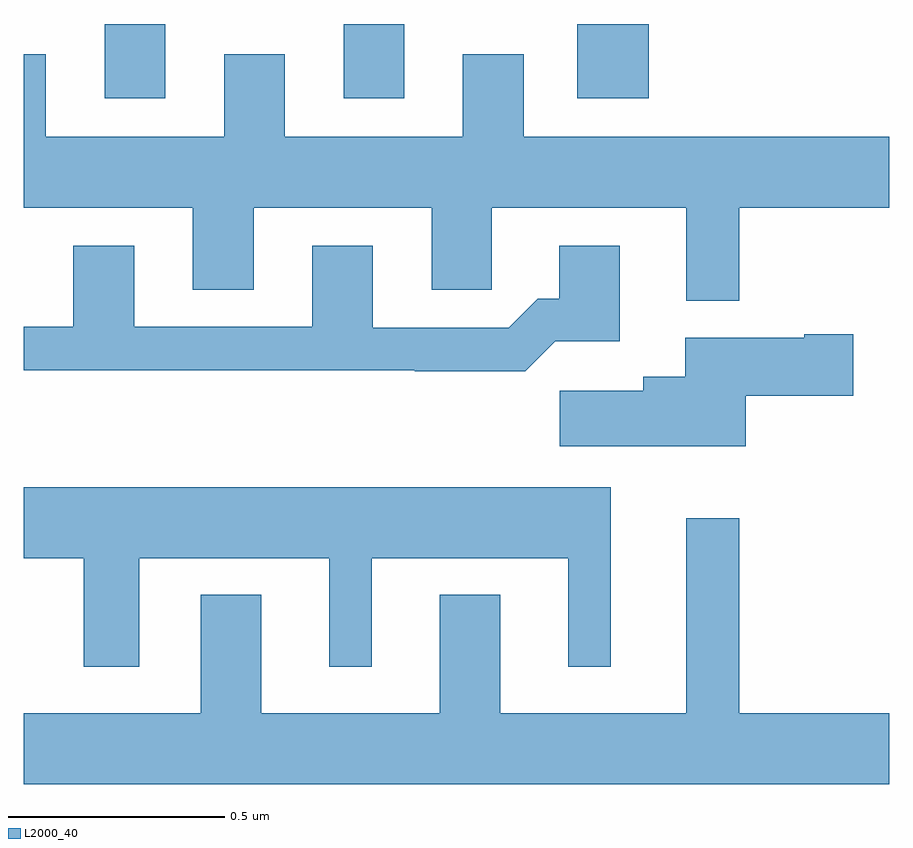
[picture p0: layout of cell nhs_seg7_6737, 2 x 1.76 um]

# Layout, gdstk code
import gdstk
lib = gdstk.Library(unit=1e-6, precision=1e-09)
def R(c, l, rs):  # rectangles x0, y0, x1, y1
    for r in rs: c.add(gdstk.rectangle(r[:2], r[2:], *l))
def P(c, l, *ps):  # polygons
    for p in ps: c.add(gdstk.Polygon(p, *l))
L2000_40 = (2000, 40)

nhs_seg7_6737 = lib.new_cell('nhs_seg7_6737')
R(nhs_seg7_6737, L2000_40, [(202.187,1040.829,202.327,1041), (202.739,1040.829,202.879,1041), (203.279,1040.829,203.444,1041)])
P(nhs_seg7_6737, L2000_40, [(203.653,1040.576),(204,1040.576),(204,1040.74),(203.155,1040.74),(203.155,1040.93),(203.015,1040.93),(203.015,1040.74),(202.603,1040.74),(202.603,1040.93),(202.463,1040.93),(202.463,1040.74),(202.051,1040.74),(202.051,1040.93),(202,1040.93),(202,1040.576),(202.391,1040.576),(202.391,1040.386),(202.531,1040.386),(202.531,1040.576),(202.943,1040.576),(202.943,1040.386),(203.082,1040.386),(203.082,1040.576),(203.531,1040.576),(203.531,1040.36),(203.653,1040.36)],
  [(203.228,1040.267),(203.377,1040.267),(203.377,1040.488),(203.237,1040.488),(203.237,1040.365),(203.188,1040.365),(203.121,1040.298),(202.807,1040.298),(202.807,1040.488),(202.667,1040.488),(202.667,1040.301),(202.255,1040.301),(202.255,1040.488),(202.115,1040.488),(202.115,1040.301),(202,1040.301),(202,1040.2),(202.903,1040.2),(202.903,1040.198),(203.159,1040.198)],
  [(203.668,1040.141),(203.917,1040.141),(203.917,1040.283),(203.804,1040.283),(203.804,1040.275),(203.528,1040.275),(203.528,1040.185),(203.432,1040.185),(203.432,1040.153),(203.238,1040.153),(203.238,1040.024),(203.668,1040.024)],
  [(202.267,1039.766),(202.706,1039.766),(202.706,1039.515),(202.804,1039.515),(202.804,1039.766),(203.258,1039.766),(203.258,1039.515),(203.356,1039.515),(203.356,1039.93),(202,1039.93),(202,1039.766),(202.139,1039.766),(202.139,1039.515),(202.267,1039.515)],
  [(204,1039.408),(203.653,1039.408),(203.653,1039.858),(203.531,1039.858),(203.531,1039.408),(203.101,1039.408),(203.101,1039.681),(202.961,1039.681),(202.961,1039.408),(202.549,1039.408),(202.549,1039.681),(202.409,1039.681),(202.409,1039.408),(202,1039.408),(202,1039.244),(204,1039.244)])

lib.write_gds('nhs_seg7_6737.gds')
